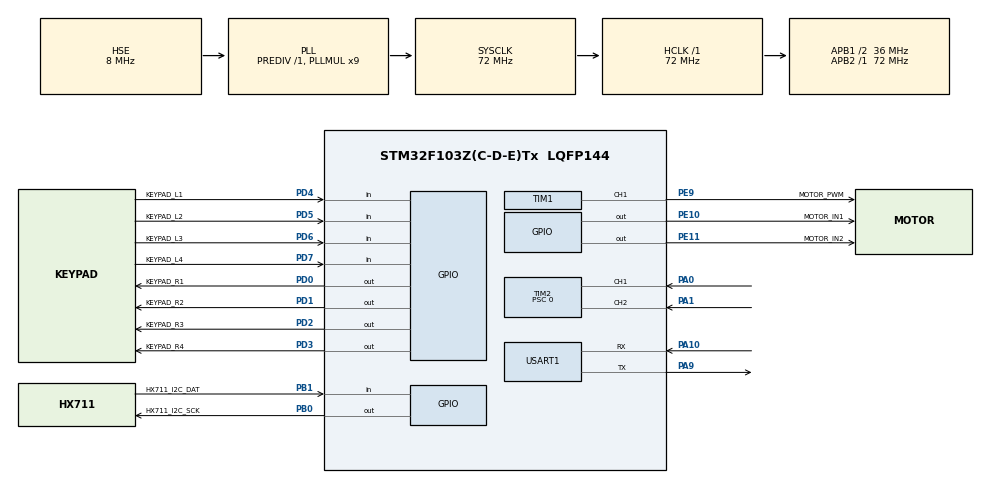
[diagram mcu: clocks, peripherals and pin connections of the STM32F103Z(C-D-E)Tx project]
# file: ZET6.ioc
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Mcu.Family=STM32F1
Mcu.Name=STM32F103Z(C-D-E)Tx
Mcu.Package=LQFP144
NVIC.PriorityGroup=NVIC_PRIORITYGROUP_0
NVIC.TIM3_IRQn=true\:0\:1\:false\:false\:true\:true
OSC_IN.Mode=HSE-External-Oscillator
OSC_IN.Signal=RCC_OSC_IN
OSC_OUT.Mode=HSE-External-Oscillator
OSC_OUT.Signal=RCC_OSC_OUT
PA0-WKUP.Signal=S_TIM2_CH1_ETR
PA1.Signal=S_TIM2_CH2
PA10.Mode=Asynchronous
PA10.Signal=USART1_RX
PA13.Mode=Serial_Wire
PA13.Signal=SYS_JTMS-SWDIO
PA14.Mode=Serial_Wire
PA14.Signal=SYS_JTCK-SWCLK
PA9.Mode=Asynchronous
PA9.Signal=USART1_TX
PB0.GPIO_Label=HX711_I2C_SCK 
PB0.Signal=GPIO_Output
PB1.GPIO_Label=HX711_I2C_DAT 
PB1.Signal=GPIO_Input
PD0.GPIO_Label=KEYPAD_R1
PD0.GPIO_PuPd=GPIO_PULLDOWN
PD0.Signal=GPIO_Output
PD1.GPIO_Label=KEYPAD_R2
PD1.GPIO_PuPd=GPIO_PULLDOWN
PD1.Signal=GPIO_Output
PD2.GPIO_Label=KEYPAD_R3
PD2.GPIO_PuPd=GPIO_PULLDOWN
PD2.Signal=GPIO_Output
PD3.GPIO_Label=KEYPAD_R4
PD3.GPIO_PuPd=GPIO_PULLDOWN
PD3.Signal=GPIO_Output
PD4.GPIO_Label=KEYPAD_L1
PD4.GPIO_PuPd=GPIO_PULLDOWN
PD4.Signal=GPIO_Input
PD5.GPIO_Label=KEYPAD_L2
PD5.GPIO_PuPd=GPIO_PULLDOWN
PD5.Signal=GPIO_Input
PD6.GPIO_Label=KEYPAD_L3
PD6.GPIO_PuPd=GPIO_PULLDOWN
PD6.Signal=GPIO_Input
PD7.GPIO_Label=KEYPAD_L4
PD7.GPIO_PuPd=GPIO_PULLDOWN
PD7.Signal=GPIO_Input
PE10.GPIO_Label=MOTOR_IN1
PE10.GPIO_PuPd=GPIO_PULLUP
PE10.Signal=GPIO_Output
PE11.GPIO_Label=MOTOR_IN2
PE11.GPIO_PuPd=GPIO_PULLUP
PE11.GPIO_Speed=GPIO_SPEED_FREQ_LOW
PE11.Signal=GPIO_Output
PE9.GPIO_Label=MOTOR_PWM
PE9.GPIO_Speed=GPIO_SPEED_FREQ_LOW
PE9.Signal=S_TIM1_CH1
ProjectManager.HeapSize=0x200
ProjectManager.StackSize=0x400
ProjectManager.TargetToolchain=MDK-ARM V5
RCC.AHBFreq_Value=72000000
RCC.APB1CLKDivider=RCC_HCLK_DIV2
RCC.APB1Freq_Value=36000000
RCC.APB1TimFreq_Value=72000000
RCC.APB2Freq_Value=72000000
RCC.APB2TimFreq_Value=72000000
RCC.HCLKFreq_Value=72000000
RCC.PLLMUL=RCC_PLL_MUL9
RCC.PLLSourceVirtual=RCC_PLLSOURCE_HSE
RCC.SYSCLKFreq_VALUE=72000000
RCC.SYSCLKSource=RCC_SYSCLKSOURCE_PLLCLK
RCC.USBFreq_Value=72000000
SH.S_TIM1_CH1.0=TIM1_CH1,PWM Generation1 CH1
SH.S_TIM2_CH1_ETR.0=TIM2_CH1,Encoder_Interface
SH.S_TIM2_CH2.0=TIM2_CH2,Encoder_Interface
TIM1.Channel-PWM\ Generation1\ CH1=TIM_CHANNEL_1
TIM1.Period=10000
TIM1.Prescaler=1
TIM2.EncoderMode=TIM_ENCODERMODE_TI12
TIM2.IC1Filter=6
TIM2.IC2Filter=6
TIM2.Period=65535
TIM2.Prescaler=0
TIM3.Period=1000
TIM3.Prescaler=71
USART1.VirtualMode=VM_ASYNC
VP_TIM1_VS_ClockSourceINT.Mode=Internal
VP_TIM3_VS_ClockSourceINT.Mode=Internal
board=custom

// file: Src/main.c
/**
  ******************************************************************************
  * @file           : main.c
  * @brief          : Main program body
  ******************************************************************************
  ** This notice applies to any and all portions of this file
  * that are not between comment pairs USER CODE BEGIN and
  * USER CODE END. Other portions of this file, whether
  * inserted by the user or by software development tools
  * are owned by their respective copyright owners.
  *
  * COPYRIGHT(c) 2019 STMicroelectronics
  *
  * Redistribution and use in source and binary forms, with or without modification,
  * are permitted provided that the following conditions are met:
  *   1. Redistributions of source code must retain the above copyright notice,
  *      this list of conditions and the following disclaimer.
  *   2. Redistributions in binary form must reproduce the above copyright notice,
  *      this list of conditions and the following disclaimer in the documentation
  *      and/or other materials provided with the distribution.
  *   3. Neither the name of STMicroelectronics nor the names of its contributors
  *      may be used to endorse or promote products derived from this software
  *      without specific prior written permission.
  *
  * THIS SOFTWARE IS PROVIDED BY THE COPYRIGHT HOLDERS AND CONTRIBUTORS "AS IS"
  * AND ANY EXPRESS OR IMPLIED WARRANTIES, INCLUDING, BUT NOT LIMITED TO, THE
  * IMPLIED WARRANTIES OF MERCHANTABILITY AND FITNESS FOR A PARTICULAR PURPOSE ARE
  * DISCLAIMED. IN NO EVENT SHALL THE COPYRIGHT HOLDER OR CONTRIBUTORS BE LIABLE
  * FOR ANY DIRECT, INDIRECT, INCIDENTAL, SPECIAL, EXEMPLARY, OR CONSEQUENTIAL
  * DAMAGES (INCLUDING, BUT NOT LIMITED TO, PROCUREMENT OF SUBSTITUTE GOODS OR
  * SERVICES; LOSS OF USE, DATA, OR PROFITS; OR BUSINESS INTERRUPTION) HOWEVER
  * CAUSED AND ON ANY THEORY OF LIABILITY, WHETHER IN CONTRACT, STRICT LIABILITY,
  * OR TORT (INCLUDING NEGLIGENCE OR OTHERWISE) ARISING IN ANY WAY OUT OF THE USE
  * OF THIS SOFTWARE, EVEN IF ADVISED OF THE POSSIBILITY OF SUCH DAMAGE.
  *
  ******************************************************************************
  */
#include "main.h"
#include "stm32f1xx_hal.h"
#include "tim.h"
#include "usart.h"
#include "gpio.h"

/* USER CODE BEGIN Includes */

#include "motor.h"
#include "pid.h"
#include "hx711.h"
#include "oled.h"
#include "keypad.h"

#include "stdio.h"
#ifdef __GNUC__
#define PUTCHAR_PROTOTYPE int __io_putchar(int ch)
#else
#define PUTCHAR_PROTOTYPE int fputc(int ch, FILE *f)
#endif /* __GNUC__ */
PUTCHAR_PROTOTYPE
{
	HAL_UART_Transmit(&huart1 , (uint8_t *)&ch, 1, 0xFFFF);
	return ch;
}

/* USER CODE END Includes */

/* USER CODE BEGIN PV */
/* Private variables ---------------------------------------------------------*/

/* USER CODE END PV */

void SystemClock_Config(void);

/* USER CODE BEGIN PFP */
/* Private function prototypes -----------------------------------------------*/

__IO uint16_t time_count=0;        // 时间计数，每1ms增加一(与滴定时器频率有关)
__IO uint16_t time_count2=0;
__IO uint16_t time_key_count=0;
__IO uint32_t CaptureNumber=0;     // 输入捕获数
__IO uint8_t  start_encoder_flag=0;
__IO uint8_t  start_flag=0;
__IO double encoder_speed=0;
int PWM_Duty;
__IO float count;
__IO float error0;
int para1;
int para2;

__IO int key_open=0;       	//中断使能一次按键
__IO int i=0; 							//用在按键输入的数组位数；
__IO int keyvalue1=0;				//用在开机按键输入
__IO int keyvalue2=0;				//用在待机按键输入
__IO int key_last=0;
__IO int key_in_flag=0;
__IO int key_out_flag=0;
__IO int key_clear_flag=0;
__IO int open_flag=0;
__IO int close_flag=0;

float Weight = 0;
int key_str[5];

/* USER CODE END PFP */

int main(void)
{

  /* MCU Configuration----------------------------------------------------------*/

  /* Reset of all peripherals, Initializes the Flash interface and the Systick. */
  HAL_Init();

  /* Configure the system clock */
  SystemClock_Config();

  /* Initialize all configured peripherals */
  MX_GPIO_Init();
  MX_TIM1_Init();
  MX_TIM2_Init();
  MX_USART1_UART_Init();
  MX_TIM3_Init();
  /* USER CODE BEGIN 2 */
//	OLED_Init();			//初始化OLED
//	OLED_Clear();

	HAL_TIM_Base_Start(&htim1);
	HAL_TIM_Base_Start(&htim2);
	HAL_TIM_Base_Start_IT(&htim3);

	HAL_TIM_Encoder_Start(&htim2,TIM_CHANNEL_ALL);
	PID_Init(&Motor_PowerPID,PID_Motor_KP1,PID_Motor_KI1,PID_Motor_KD1);
	PID_Init(&Motor_SpeedPID,PID_Motor_KP2,PID_Motor_KI2,PID_Motor_KD2);

  /* USER CODE END 2 */

  /* Infinite loop */
  /* USER CODE BEGIN WHILE */
	Motor_Init();
	PID_SetPoint(&Motor_PowerPID, power_point);
//	PID_SetPoint(&Motor_SpeedPID, speed_point);
	Get_Maopi();

	printf("INIT__PASS……  \r\n");
	HAL_Delay(500);

	//////////开机程序///////////////////
	while(1)
	{
		if(key_open==1)
		{
			keyvalue1=KEYPAD_Scan(KEY_PASG_PORT);
			key_open=0;
			if(open_flag==1)break;

			if(keyvalue1==12)//逆时针旋转
				{Set_Pwm(9999);
					HAL_GPIO_WritePin(MOTOR_IN1_GPIO_Port,MOTOR_IN1_Pin,GPIO_PIN_RESET);
			HAL_GPIO_WritePin(MOTOR_IN1_GPIO_Port,MOTOR_IN2_Pin,GPIO_PIN_SET);}
			if(keyvalue1==13)		//顺时针旋转
			{Set_Pwm(6000);
				HAL_GPIO_WritePin(MOTOR_IN1_GPIO_Port,MOTOR_IN1_Pin,GPIO_PIN_SET);
			HAL_GPIO_WritePin(MOTOR_IN1_GPIO_Port,MOTOR_IN2_Pin,GPIO_PIN_RESET);}
			if(keyvalue1==14)		//停止转动
			{	HAL_GPIO_WritePin(MOTOR_IN1_GPIO_Port,MOTOR_IN1_Pin,GPIO_PIN_RESET);
			HAL_GPIO_WritePin(MOTOR_IN1_GPIO_Port,MOTOR_IN2_Pin,GPIO_PIN_RESET);}
		}
	}
////		//////////拉力传感器部分/////////
////		Weight = Get_Weight();
////		Weight = (float)Weight/1000.0f;
////		printf("拉力传感器回传值为:	%0.3f kg\r\n\r\n",Weight);
////		printf("请开机并且输入目标拉力值！\r\n\r\n");
////		HAL_Delay(100);

	 ////////启动电机转动///////////

	printf("														开机													\r\n");
	HAL_Delay(500);

///////////////////////////////////////

	start_flag=1;          			//开启滴答定时器的定时
	start_encoder_flag=1;     //开启PID的调节标志//

  while (1)
  {
		///包含按键扫描和按键输入////
//		Key_Logic();
//
//		printf("								当前keyvalue2  de  值  %d	\r\n",keyvalue2);
		HAL_Delay(50);

		////*关机识别*///
		if(close_flag==1)break;

  /* USER CODE END WHILE */

  /* USER CODE BEGIN 3 */

  }

////////////关机程序///////////////////
	while(1)
	{
		HAL_TIM_Base_Stop_IT((&htim3));
		printf("SLLEEP……  \r\n");
		HAL_Delay(2000);
	}
//////////////////////////////////////

  /* USER CODE END 3 */

}

void SystemClock_Config(void)
{

  RCC_OscInitTypeDef RCC_OscInitStruct;
  RCC_ClkInitTypeDef RCC_ClkInitStruct;

    /**Initializes the CPU, AHB and APB busses clocks
    */
  RCC_OscInitStruct.OscillatorType = RCC_OSCILLATORTYPE_HSE;
  RCC_OscInitStruct.HSEState = RCC_HSE_ON;
  RCC_OscInitStruct.HSEPredivValue = RCC_HSE_PREDIV_DIV1;
  RCC_OscInitStruct.HSIState = RCC_HSI_ON;
  RCC_OscInitStruct.PLL.PLLState = RCC_PLL_ON;
  RCC_OscInitStruct.PLL.PLLSource = RCC_PLLSOURCE_HSE;
  RCC_OscInitStruct.PLL.PLLMUL = RCC_PLL_MUL9;
  if (HAL_RCC_OscConfig(&RCC_OscInitStruct) != HAL_OK)
  {
    _Error_Handler(__FILE__, __LINE__);
  }

    /**Initializes the CPU, AHB and APB busses clocks
    */
  RCC_ClkInitStruct.ClockType = RCC_CLOCKTYPE_HCLK|RCC_CLOCKTYPE_SYSCLK
                              |RCC_CLOCKTYPE_PCLK1|RCC_CLOCKTYPE_PCLK2;
  RCC_ClkInitStruct.SYSCLKSource = RCC_SYSCLKSOURCE_PLLCLK;
  RCC_ClkInitStruct.AHBCLKDivider = RCC_SYSCLK_DIV1;
  RCC_ClkInitStruct.APB1CLKDivider = RCC_HCLK_DIV2;
  RCC_ClkInitStruct.APB2CLKDivider = RCC_HCLK_DIV1;

  if (HAL_RCC_ClockConfig(&RCC_ClkInitStruct, FLASH_LATENCY_2) != HAL_OK)
  {
    _Error_Handler(__FILE__, __LINE__);
  }

    /**Configure the Systick interrupt time
    */
  HAL_SYSTICK_Config(HAL_RCC_GetHCLKFreq()/1000);

    /**Configure the Systick
    */
  HAL_SYSTICK_CLKSourceConfig(SYSTICK_CLKSOURCE_HCLK);

  /* SysTick_IRQn interrupt configuration */
  HAL_NVIC_SetPriority(SysTick_IRQn, 0, 0);
}

/* USER CODE BEGIN 4 */

/**
  * 函数功能: 系统滴答定时器中断回调函数
  * 输入参数: 无
  * 返 回 值: 无
  * 说    明: 每发生一次滴答定时器中断进入该回调函数一次
  */
void HAL_SYSTICK_Callback(void)
{
  if(start_flag) 					// 等待一切初始化完成后才开始计时
  {
      time_count++;         // 每1ms自动增一
    if(time_count==10)
    {
				/* 拉力传感部分 */
			Weight = -Get_Weight();
//	Weight = (float)Weight/1000.0f;

			if(start_encoder_flag==1)
			{
//				/* 【外环】速度部分*/
				count=Weight; 			 /* 得到编码器计数值，数值越大说明速度越大 */
				error0=count-Motor_PowerPID.SetPoint;
				para1=Inc_PID_Calc2(&Motor_PowerPID,count);      /* 计数得到位置式PID的增量数值 */
//				printf("\n目标：%.2f 压力：%.2f	差值%.2f	pid计算%d 占空比->%d\r\n",Motor_PowerPID.SetPoint,Weight,count-Motor_PowerPID.SetPoint,para1,PWM_Duty);
				printf("\n目标：	%.2f  压力：%.2f	  差值%.2f	para1计算 %d \r\n",Motor_PowerPID.SetPoint,Weight,count-Motor_PowerPID.SetPoint,para1);
//				Motor_Dirc();
//				Motor_Limt();
				if(para1<=0)para1=-para1;
				if(para1>200)para1=200;
			  PID_SetPoint(&Motor_SpeedPID,para1);

				/*【内环】电流部分 */
				count=(short)TIM2->CNT;
				if(count<=0)count=-count;
				para2=Inc_PID_Calc1(&Motor_SpeedPID,count);                  /* 计数得到增量式PID的增量数值 */
				PWM_Duty +=para2;
			  if(PWM_Duty<0)PWM_Duty=-PWM_Duty;
				if(PWM_Duty<2000)PWM_Duty=2000;
		    if(PWM_Duty>10000)PWM_Duty=10000;
        Motor_Dirc();
				Set_Pwm(PWM_Duty);
				printf("																																				目标：%d  计数：%d	差值 ：%d	 pid计算：%d 占空比：%d\r\n\r\n",para1,(int)count,(int)(para1-count),para2,PWM_Duty);
			}
			TIM2 -> CNT=0;
			time_count=0;

    }
//		if((time_count%10)==0){	printf("\n目标：	%.2f  压力：%.2f	  差值%.2f	para1计算 %d \r\n",Motor_PowerPID.SetPoint,Weight,count-Motor_PowerPID.SetPoint,para1);   }
  }
}

/**
  * 函数功能: 捕获定时器中断回调函数（编码器）
  * 输入参数: htim：定时器句柄
  * 返 回 值: 无
  * 说    明: 每发生一次滴答定时器中断进入该回调函数一次
  */
//void HAL_TIM_IC_CaptureCallback(TIM_HandleTypeDef *htim)
//{
//	if(htim == &(htim2))
//	{
//		;
//	}
//}

/**
  * 函数功能: 非阻塞模式下定时器的回调函数
  * 输入参数: htim：定时器句柄
  * 返 回 值: 无
  * 说    明: 无
  */
void HAL_TIM_PeriodElapsedCallback(TIM_HandleTypeDef *htim)
{
	 if (htim == (&htim3))
	{
		time_key_count++;

		if(time_key_count==100)
		{
			//////////键盘标志位////////////////
//			printf("READDDDDDDDDDDDDD……  \r\n");
			if(keyvalue1==10)open_flag=1;
			if(keyvalue2==11)close_flag=1;
			if(keyvalue2==12)key_in_flag=1;
			if(keyvalue2==13)key_out_flag=1;
			if(keyvalue2==14)key_clear_flag=1;
			key_open=1;
			time_key_count=0;
		}
	}
}

/* USER CODE END 4 */

void _Error_Handler(char *file, int line)
{
  while(1)
  {
  }
}

/************************ (C) COPYRIGHT STMicroelectronics *****END OF FILE****/
